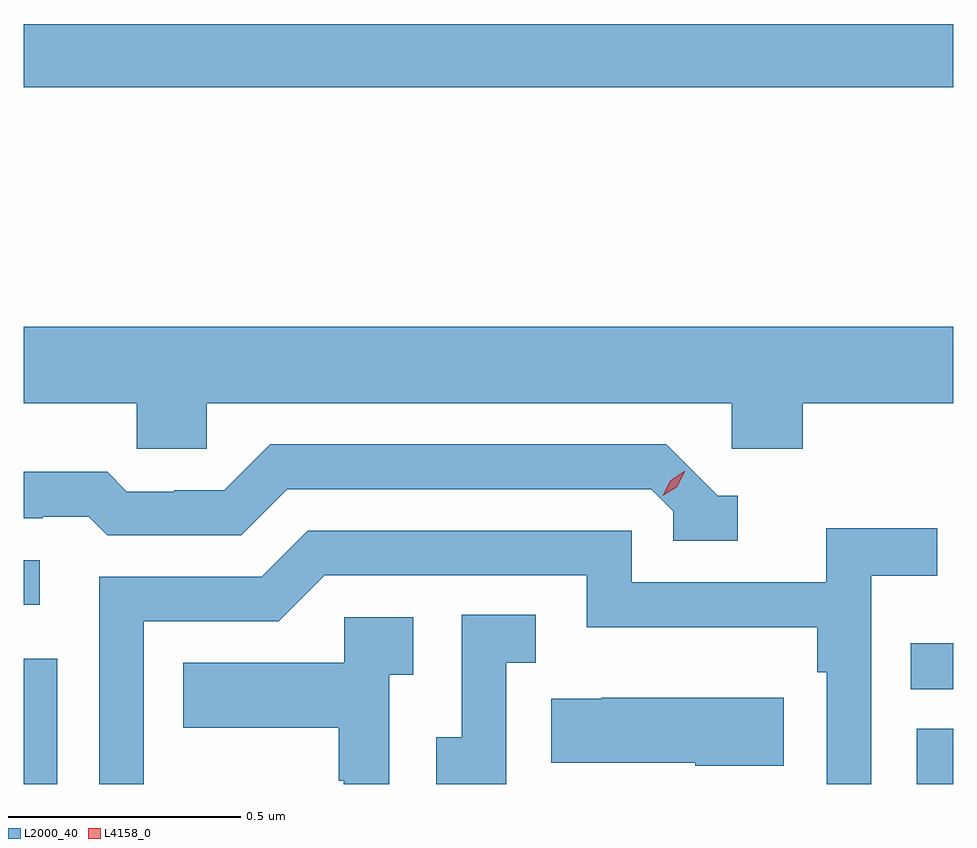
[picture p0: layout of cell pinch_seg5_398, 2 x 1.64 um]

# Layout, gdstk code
import gdstk
lib = gdstk.Library(unit=1e-6, precision=1e-09)
def R(c, l, rs):  # rectangles x0, y0, x1, y1
    for r in rs: c.add(gdstk.rectangle(r[:2], r[2:], *l))
def P(c, l, *ps):  # polygons
    for p in ps: c.add(gdstk.Polygon(p, *l))
L2000_40 = (2000, 40)
L4158_0 = (4158, 0)

pinch_seg5_398 = lib.new_cell('pinch_seg5_398')
R(pinch_seg5_398, L2000_40, [(983.712,873.256,983.784,873.526), (985.634,873.256,985.712,873.375), (985.621,873.46,985.712,873.559), (983.712,873.642,983.746,873.738), (983.712,874.756,985.712,874.892)])
P(pinch_seg5_398, L2000_40, [(984.105,874.076),(985.236,874.076),(985.236,873.978),(985.388,873.978),(985.388,874.076),(985.712,874.076),(985.712,874.24),(983.712,874.24),(983.712,874.076),(983.955,874.076),(983.955,873.978),(984.105,873.978)],
  [(985.249,873.876),(985.206,873.876),(985.095,873.987),(984.242,873.987),(984.143,873.888),(984.036,873.888),(984.036,873.885),(983.933,873.885),(983.891,873.928),(983.712,873.928),(983.712,873.828),(983.753,873.828),(983.753,873.831),(983.852,873.831),(983.891,873.792),(984.18,873.792),(984.279,873.891),(985.062,873.891),(985.11,873.843),(985.11,873.78),(985.249,873.78)],
  [(983.97,873.606),(984.261,873.606),(984.36,873.705),(984.924,873.705),(984.924,873.593),(985.42,873.593),(985.42,873.497),(985.44,873.497),(985.44,873.256),(985.536,873.256),(985.536,873.704),(985.678,873.704),(985.678,873.806),(985.439,873.806),(985.439,873.69),(985.02,873.69),(985.02,873.801),(984.323,873.801),(984.224,873.702),(983.874,873.702),(983.874,873.256),(983.97,873.256)],
  [(984.75,873.517),(984.814,873.517),(984.814,873.62),(984.654,873.62),(984.654,873.357),(984.599,873.357),(984.599,873.256),(984.75,873.256)],
  [(984.498,873.491),(984.55,873.491),(984.55,873.615),(984.402,873.615),(984.402,873.517),(984.055,873.517),(984.055,873.377),(984.39,873.377),(984.39,873.263),(984.4,873.263),(984.4,873.256),(984.498,873.256)],
  [(985.348,873.442),(984.955,873.442),(984.955,873.439),(984.847,873.439),(984.847,873.302),(985.157,873.302),(985.157,873.295),(985.348,873.295)])
P(pinch_seg5_398, L4158_0, [(985.087,873.876),(985.087,873.876),(985.103,873.909),(985.133,873.929),(985.134,873.929),(985.134,873.929),(985.118,873.896),(985.087,873.876)])

lib.write_gds('pinch_seg5_398.gds')
